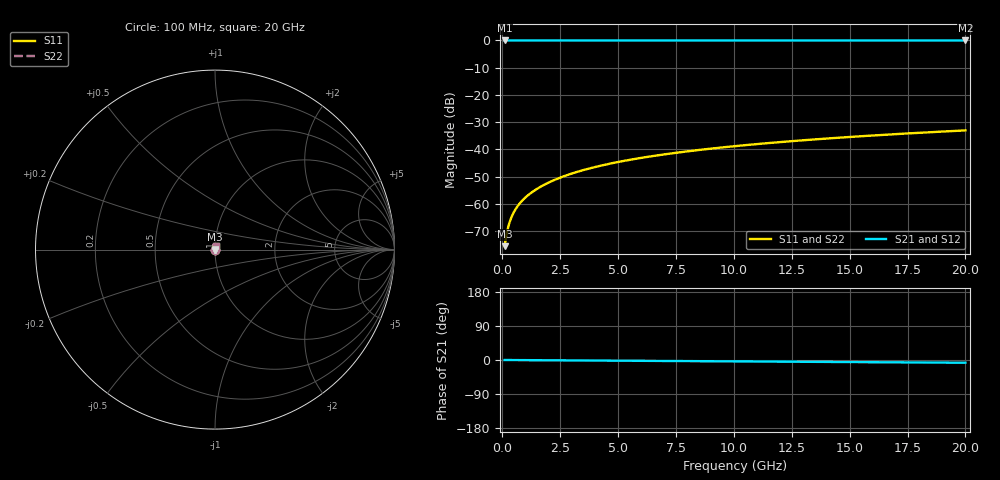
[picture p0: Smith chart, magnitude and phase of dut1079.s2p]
! Touchstone file exported from HFSS 2026.1.0
!  File:  C:/ffzhzh/LocalFiles/Ansys_Project_Files/temp_train_TSV_1079_1783190101_22436.aedt
!  Generated:  02:36:23 AM Jul  5, 2026
!  Design:  TSV
!  Project:  temp_train_TSV_1079_1783190101_22436
! Variables:
!  h_bsmrdl = 2um
!  h_ox = 20um
!  h_rdl = 5um
!  h_sub = 65.7um
!  h_tmrdl = 5um
!  h_tsv = 65.7um
!  h_via = 3um
!  l_bsmrdl = 300um
!  l_sub = 424.12um
!  l_tmrdl = 200um
!  m_sub = 200um
!  pitch = 58.3um
!  r_tsv = 12.06um
!  s_tmrdl = 10um
!  w_bsmrdl = 18um
!  w_sub = 500um
!  w_tmrdl = 12um
!  x_tsv_center1 = 206um
!  x_tsv_center2 = 524um
!  x_tsv_center3 = 736um
!  x_tsv_center4 = 1054um
!  x_tsv_center5 = 1266um
!  x_tsv_center6 = 1584um
# GHz S MA R 50.000000
! Terminal data exported
! Port[1] = TSV1_1_T1
! Port[2] = TSV1_1_T2
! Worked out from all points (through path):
!   200 points, 100 MHz to 20 GHz, reference 50 ohm
!   highest |S21| = 0.00 dB at 100 MHz (marker M1); lowest = 0.0 dB at 20 GHz (marker M2)
!   group delay of S21, straight-line fit = 1 ps
!   lowest |S11| = -75.5 dB at 100 MHz (marker M3), VSWR 1.00, Z = 50 + j0.0145 ohm
!   |S11| at or under -10 dB: start of sweep to end of sweep
!   |S22| runs from -75.5 to -33.0 dB; largest |S21 - S12| = 5.1e-15
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0.1  0.0001669 60.6  0.9999 -0.0  0.9999 -0.0  0.0001669 60.6
! Gamma 0 0 0 0
! Port Impedance 50 0 50 0
0.2  0.0003027 72.3  0.9999 -0.1  0.9999 -0.1  0.0003027 72.3
0.3  0.0004405 75.9  0.9999 -0.1  0.9999 -0.1  0.0004405 75.9
0.4  0.0005751 77.4  0.9999 -0.2  0.9999 -0.2  0.0005751 77.4
0.5  0.0007055 78.2  0.9999 -0.2  0.9999 -0.2  0.0007055 78.2
0.6  0.0008318 78.7  0.9998 -0.2  0.9998 -0.2  0.0008318 78.7
0.7  0.0009548 79.0  0.9998 -0.3  0.9998 -0.3  0.0009548 79.0
0.9  0.001193 79.6  0.9998 -0.3  0.9998 -0.3  0.001193 79.6
1.1  0.001426 80.2  0.9998 -0.4  0.9998 -0.4  0.001426 80.2
1.3  0.001656 80.7  0.9997 -0.5  0.9997 -0.5  0.001656 80.7
1.6  0.001999 81.4  0.9997 -0.6  0.9997 -0.6  0.001999 81.4
1.9  0.002342 82.0  0.9997 -0.7  0.9997 -0.7  0.002342 82.0
2.6  0.003142 82.8  0.9997 -1.0  0.9997 -1.0  0.003142 82.8
3.5  0.004167 83.4  0.9996 -1.3  0.9996 -1.3  0.004167 83.4
4.2  0.004961 83.6  0.9996 -1.5  0.9996 -1.5  0.004961 83.6
5  0.005863 83.6  0.9995 -1.8  0.9995 -1.8  0.005863 83.6
6.8  0.007875 83.6  0.9994 -2.5  0.9994 -2.5  0.007875 83.6
8.3  0.009538 83.4  0.9994 -3.0  0.9994 -3.0  0.009538 83.4
10.1  0.01152 83.0  0.9993 -3.7  0.9993 -3.7  0.01152 83.0
13.4  0.01515 82.3  0.9991 -4.9  0.9991 -4.9  0.01515 82.3
16.7  0.01874 81.4  0.999 -6.0  0.999 -6.0  0.01874 81.4
20  0.0223 80.4  0.9988 -7.2  0.9988 -7.2  0.0223 80.4
